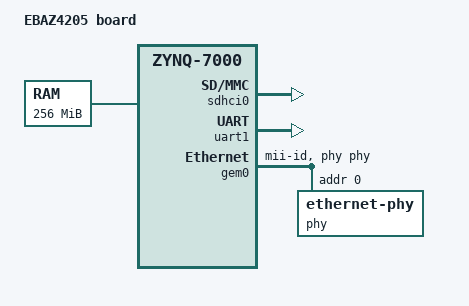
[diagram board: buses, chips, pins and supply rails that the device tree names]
// SPDX-License-Identifier: GPL-2.0+
/*
 *  Copyright (C) 2011 - 2015 Xilinx
 *  Copyright (C) 2012 National Instruments Corp.
 */

/dts-v1/;
/include/ "zynq-7000.dtsi"

/ {
	model = "EBAZ4205 board";
	compatible =  "xlnx,zynq-7000";

	aliases {
		ethernet0 = &gem0;
		serial0 = &uart1;
		mmc0 = &sdhci0;
	};

	memory@0 {
		device_type = "memory";
		reg = <0x0 0x10000000>;
	};

	chosen {
		bootargs = "";
		stdout-path = "serial0:115200n8";
	};


};

&clkc {
	ps-clk-frequency = <33333333>;
};


&sdhci0 {
	u-boot,dm-pre-reloc;
	status = "okay";
};

&uart1 {
	u-boot,dm-pre-reloc;
	status = "okay";
};

&gem0 {
	u-boot,dm-pre-reloc;
	status = "okay";
	phy-mode = "mii-id";
	phy-handle = <&phy>;


	phy: ethernet-phy@0 {
		reg = <0x0>;
	};
};

